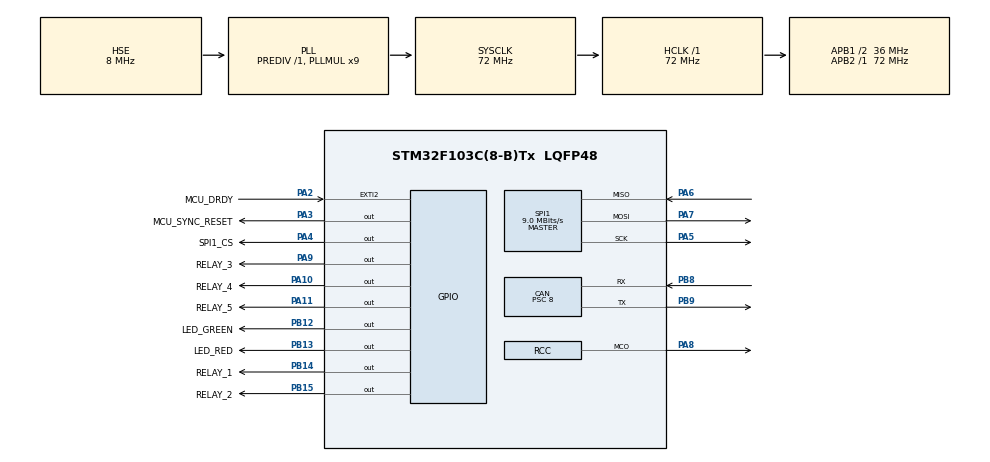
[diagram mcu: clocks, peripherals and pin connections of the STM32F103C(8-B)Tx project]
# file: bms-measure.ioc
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CAN.BS1=CAN_BS1_3TQ
CAN.BS2=CAN_BS2_5TQ
CAN.CalculateBaudRate=500000
CAN.CalculateTimeBit=2000
CAN.CalculateTimeQuantum=222.22222222222223
CAN.Prescaler=8
CAN.SJW=CAN_SJW_2TQ
Mcu.Family=STM32F1
Mcu.Name=STM32F103C(8-B)Tx
Mcu.Package=LQFP48
NVIC.CAN1_RX1_IRQn=true\:0\:0\:false\:false\:true\:true\:true\:true
NVIC.PriorityGroup=NVIC_PRIORITYGROUP_4
NVIC.SPI1_IRQn=true\:0\:0\:false\:false\:true\:true\:true\:true
NVIC.TIM4_IRQn=true\:0\:0\:false\:false\:true\:true\:true\:true
NVIC.USB_LP_CAN1_RX0_IRQn=true\:0\:0\:false\:false\:true\:true\:true\:true
PA10.GPIO_Label=RELAY_4
PA10.Signal=GPIO_Output
PA11.GPIO_Label=RELAY_5
PA11.Signal=GPIO_Output
PA13.Mode=Trace_Asynchronous_SW
PA13.Signal=SYS_JTMS-SWDIO
PA14.Mode=Trace_Asynchronous_SW
PA14.Signal=SYS_JTCK-SWCLK
PA2.GPIO_Label=MCU_DRDY
PA2.GPIO_ModeDefaultEXTI=GPIO_MODE_IT_FALLING
PA2.Signal=GPXTI2
PA3.GPIO_Label=MCU_SYNC_RESET
PA3.Signal=GPIO_Output
PA4.GPIO_Label=SPI1_CS
PA4.Signal=GPIO_Output
PA5.Mode=Full_Duplex_Master
PA5.Signal=SPI1_SCK
PA6.Mode=Full_Duplex_Master
PA6.Signal=SPI1_MISO
PA7.Mode=Full_Duplex_Master
PA7.Signal=SPI1_MOSI
PA8.Mode=Clock-out
PA8.Signal=RCC_MCO
PA9.GPIO_Label=RELAY_3
PA9.Signal=GPIO_Output
PB12.GPIO_Label=LED_GREEN
PB12.Signal=GPIO_Output
PB13.GPIO_Label=LED_RED
PB13.Signal=GPIO_Output
PB14.GPIO_Label=RELAY_1
PB14.Signal=GPIO_Output
PB15.GPIO_Label=RELAY_2
PB15.Signal=GPIO_Output
PB3.Mode=Trace_Asynchronous_SW
PB3.Signal=SYS_JTDO-TRACESWO
PB8.Mode=CAN_Activate
PB8.Signal=CAN_RX
PB9.Mode=CAN_Activate
PB9.Signal=CAN_TX
PC14-OSC32_IN.Mode=LSE-External-Oscillator
PC14-OSC32_IN.Signal=RCC_OSC32_IN
PC15-OSC32_OUT.Mode=LSE-External-Oscillator
PC15-OSC32_OUT.Signal=RCC_OSC32_OUT
PD0-OSC_IN.Mode=HSE-External-Oscillator
PD0-OSC_IN.Signal=RCC_OSC_IN
PD1-OSC_OUT.Mode=HSE-External-Oscillator
PD1-OSC_OUT.Signal=RCC_OSC_OUT
ProjectManager.HeapSize=0x200
ProjectManager.StackSize=0x400
ProjectManager.TargetToolchain=STM32CubeIDE
RCC.ADCPresc=RCC_ADCPCLK2_DIV6
RCC.AHBFreq_Value=72000000
RCC.APB1CLKDivider=RCC_HCLK_DIV2
RCC.APB1Freq_Value=36000000
RCC.APB1TimFreq_Value=72000000
RCC.APB2Freq_Value=72000000
RCC.APB2TimFreq_Value=72000000
RCC.HCLKFreq_Value=72000000
RCC.PLLMUL=RCC_PLL_MUL9
RCC.PLLSourceVirtual=RCC_PLLSOURCE_HSE
RCC.RCC_MCOSource=RCC_MCO1SOURCE_HSI
RCC.SYSCLKFreq_VALUE=72000000
RCC.SYSCLKSource=RCC_SYSCLKSOURCE_PLLCLK
RCC.USBFreq_Value=48000000
RCC.USBPrescaler=RCC_USBCLKSOURCE_PLL_DIV1_5
RTC.Date=5
RTC.Month=RTC_MONTH_DECEMBER
RTC.WeekDay=RTC_WEEKDAY_TUESDAY
RTC.Year=23
SPI1.BaudRatePrescaler=SPI_BAUDRATEPRESCALER_8
SPI1.CLKPhase=SPI_PHASE_2EDGE
SPI1.CLKPolarity=SPI_POLARITY_LOW
SPI1.CalculateBaudRate=9.0 MBits/s
SPI1.Direction=SPI_DIRECTION_2LINES
SPI1.FirstBit=SPI_FIRSTBIT_MSB
SPI1.Mode=SPI_MODE_MASTER
SPI1.VirtualType=VM_MASTER
TIM4.Period=10000-1
TIM4.Prescaler=72-1
VP_CRC_VS_CRC.Mode=CRC_Activate
VP_RTC_VS_RTC_Activate.Mode=RTC_Enabled
VP_RTC_VS_RTC_Calendar.Mode=RTC_Calendar
VP_TIM4_VS_ClockSourceINT.Mode=Internal
board=custom

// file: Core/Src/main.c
/* USER CODE BEGIN Header */
/**
  ******************************************************************************
  * @file           : main.c
  * @brief          : Main program body
  ******************************************************************************
  * @attention
  *
  * Copyright (c) 2023 STMicroelectronics.
  * All rights reserved.
  *
  * This software is licensed under terms that can be found in the LICENSE file
  * in the root directory of this software component.
  * If no LICENSE file comes with this software, it is provided AS-IS.
  *
  ******************************************************************************
  */
/* USER CODE END Header */
#include "main.h"
#include "can.h"
#include "crc.h"
#include "rtc.h"
#include "spi.h"
#include "tim.h"
#include "gpio.h"

/* USER CODE BEGIN Includes */
#include "ads131m0x.h"
#include <stdio.h>
#include <math.h>
#include <string.h>

#if __has_include("gitcommit.h")
	#include "gitcommit.h"
#else
	#define __GIT_SHORT_HASH__ 0x0000000
	#define __GIT_BRANCH__ "none"
	#define __GIT_DATE_STR__ "2024-11-25"
	#define __GIT_DATE_UT__ 1732571756
#endif

/* USER CODE END Includes */

/* USER CODE BEGIN PTD */
uint8_t process_10Ms_Timer(void);
void AlertHandler(void);
uint8_t check_Alert_and_Warn_Thresholds(void);
/* USER CODE END PTD */

/* USER CODE BEGIN PV */
//extern DMA_HandleTypeDef hdma_usart2_rx;
//extern DMA_HandleTypeDef hdma_spi1_rx;
uint8_t main_task_scheduler;
uint8_t adc_enable_mask;
uint8_t alive_timer;
uint16_t timer_10ms;

#ifdef __DEBUG__
__attribute__((__section__(".dev_config"))) const _DEV_CONFIG_REGS dev_config_regs = {
		__DEV_ID__,
		__BOARD_TYPE__,
		__BOARD_NAME__,
		__BOARD_VERSION__,
		__BOARD_MF_DATE__,
		DEAULT_BL_CAN_BITRATE,
		DEAULT_APP_CAN_BITRATE,
		DEAULT_TRIPP_CAN_ID,
		DEAULT_BROADCAST_CAN_ID,
};
#endif

__attribute__((__section__(".board_info"))) _BOARD_INFO_STRUCT board_name = {__BOARD_NAME__};

__attribute__((__section__(".sw_info"))) const _SW_INFO_REGS sw_info_regs = {
		__SW_NAME__,
	#ifdef __DEBUG__
		"Debug",
	#else
		"Release",
	#endif
		__SW_RELEASE__,
		__SW_RELEASE_DATE__,
		{	//git-info aus gitcommit.h
			__GIT_SHORT_HASH__,
			__GIT_DATE_UT__,
			__GIT_DATE_STR__,
			__GIT_BRANCH__,
		}
};

//alles was persistend (im Flash) gespeichert werden soll, z.b. Kalibration, ...
__attribute__((__section__(".app_config"))) const _BMS_MEASURE_CONFIG_REGS app_cfg_regs = {

	{//calibration
		{-139500, 0x800000},	//adc channel 01, current measurement, unused at the moment
#if (CHANNEL_COUNT > 1)
		{-132500, 0x800000},	//adc channel 02, current measurement
#endif
#if (CHANNEL_COUNT > 2)
		{-144600, 0x800000},		//adc channel 03, current measurement
#endif
#if (CHANNEL_COUNT > 3)
		{-83600, 0x800000},		//adc channel 04, current measurement
#endif
#if (CHANNEL_COUNT > 4)
		{-36950, 8600000},		//adc channel 05, voltage measurement
#endif
#if (CHANNEL_COUNT > 5)
		{-36950, 8600000},			//adc channel 06, unused at the moment, current measurement based on shunt resistor
#endif
	},
	{ //alert Thresholds
		{ 0.0, 30000.0, (ENABLE_MAX_THRESHOLD)},
#if (CHANNEL_COUNT > 1)
		{ 0.0, 30000.0, (ENABLE_MAX_THRESHOLD)},
#endif
#if (CHANNEL_COUNT > 2)
		{ 0.0, 30000.0, (ENABLE_MAX_THRESHOLD)},
#endif
#if (CHANNEL_COUNT > 3)
		{ 0.0, 50000.0, (ENABLE_MAX_THRESHOLD)},
#endif
#if (CHANNEL_COUNT > 4)
 #ifdef __DEBUG__
		{ 400.0, 555.0, (0)},//ENABLE_MIN_THRESHOLD|ENABLE_MAX_THRESHOLD
 #else
		{ 400.0, 555.0, (ENABLE_MIN_THRESHOLD|ENABLE_MAX_THRESHOLD)},
 #endif
#endif
#if (CHANNEL_COUNT > 5)
		{ 0.0, 0.0, 0x00}
#endif
	},
	{ //Warn Thresholds
		{ 0.0, 25000.0, (ENABLE_MAX_THRESHOLD)},
#if (CHANNEL_COUNT > 1)
		{ 0.0, 25000.0, (ENABLE_MAX_THRESHOLD)},
#endif
#if (CHANNEL_COUNT > 2)
		{ 0.0, 25000.0, (ENABLE_MAX_THRESHOLD)},
#endif
#if (CHANNEL_COUNT > 3)
		{ 0.0, 45000.0, (ENABLE_MAX_THRESHOLD)},
#endif
#if (CHANNEL_COUNT > 4)
#ifdef __DEBUG__
		{ 420000.0, 550000.0, (ENABLE_MAX_THRESHOLD)},//ENABLE_MIN_THRESHOLD|ENABLE_MAX_THRESHOLD
#else
		{ 420000.0, 550000.0, (ENABLE_MIN_THRESHOLD|ENABLE_MAX_THRESHOLD)},
#endif
#endif
#if (CHANNEL_COUNT > 5)
		{ 0.0, 0.0, 0x00}
#endif
	},
	{ //Current Fast Trip Threshold
		{ (DEFAULT_CFT_CURRENT*UINT_FS_CURRENT_A), (ENABLE_MAX_THRESHOLD), (CFT_RELAY1)},
#if (CHANNEL_COUNT > 1)
		{ (DEFAULT_CFT_CURRENT*UINT_FS_CURRENT_A), (ENABLE_MAX_THRESHOLD), (CFT_RELAY2)},
#endif
#if (CHANNEL_COUNT > 2)
		{ (DEFAULT_CFT_CURRENT*UINT_FS_CURRENT_A), (ENABLE_MAX_THRESHOLD), (CFT_RELAY3)},
#endif
#if (CHANNEL_COUNT > 3)
		{ (50*UINT_FS_CURRENT_A), (ENABLE_MAX_THRESHOLD), (CFT_RELAY4)},
#endif
#if (CHANNEL_COUNT > 4)
		{ 0, 0x00},
#endif
#if (CHANNEL_COUNT > 5)
		{ 0, 0x00}
#endif
	},
	//allert_mask mask
	((0x01<<ADC_CH1) | (0x01<<ADC_CH2) | (0x01<<ADC_CH3) | (0x01<<ADC_CH4) | (0x00<<ADC_CH5) | (0x00<<ADC_CH6)),

	//warn_mask mask
	((0x01<<ADC_CH1) | (0x01<<ADC_CH2) | (0x01<<ADC_CH3) | (0x01<<ADC_CH4) | (0x00<<ADC_CH5) | (0x00<<ADC_CH6)),

	//current_fast_trip_mask mask
	((0x01<<ADC_CH1) | (0x01<<ADC_CH2) | (0x01<<ADC_CH3) | (0x00<<ADC_CH4) | (0x00<<ADC_CH5) | (0x00<<ADC_CH6)),

	//crit_allert_mask mask
	((0x01<<ADC_CH1) | (0x01<<ADC_CH2) | (0x01<<ADC_CH3) | (0x01<<ADC_CH4) | (0x00<<ADC_CH5) | (0x00<<ADC_CH6)),

	//enable mask
	((0x01<<ADC_CH1) | (0x01<<ADC_CH2) | (0x01<<ADC_CH3) | (0x01<<ADC_CH4) | (0x01<<ADC_CH5) | (0x00<<ADC_CH6))
};

const _DEV_CONFIG_REGS* pDevConfig = (const _DEV_CONFIG_REGS*)DEV_CONFIG_FL_ADDRESS;

/**
 * @var		main_regs
 * @brief	Registersatz im Ram (Arbeitsregister)
 * @see		MAIN_REGS
 * @see		main_ee_regs
 *
 */
_MAIN_REGS main_regs = {
	//!<RW CTRL Ein-/Ausschalten usw.  (1 BYTE )
	((1<<REG_CTRL_ACTIVATE) | (1<<REG_CTRL_CRIT_ALERT) | (1<<REG_CTRL_ENABLE_TRIP) |
	(0<<REG_CTRL_ENABLE_ADC_AUTO_SEND) | (0<<REG_CTRL_ENABLE_CF_TRIP) | (1<<REG_CTRL_WARN_ENABLE)),

	SYS_OK,
	ERR_NONE,
	STATE_OFF,

	ALIVE_TIMEOUT_10MS,

	0,
	0,
	0,
	0,
	0,
	0,

	{}
};

/* USER CODE END PV */

void SystemClock_Config(void);

/* USER CODE BEGIN 0 */
int _write(int file, char *ptr, int len)
 {
	 int DataIdx;
	 for (DataIdx = 0; DataIdx < len; DataIdx++)
	 {
		 ITM_SendChar(*ptr++);
	 }
	 return len;
 }

/****************************************************************************
  * @brief  trip one or more high current relays in case of overcurrent
  * @retval nore
  * @fn TripCFTRelay
  */
void TripCFTRelay (uint8_t cft_relay_mask)
{
	//CFT_RELAY1
	if (cft_relay_mask & CFT_RELAY1)	{
		HAL_GPIO_WritePin(RELAY_2_GPIO_Port, RELAY_2_Pin, GPIO_PIN_RESET);
	}

	//CFT_RELAY2
	if (cft_relay_mask & CFT_RELAY2)	{
		HAL_GPIO_WritePin(RELAY_3_GPIO_Port, RELAY_3_Pin, GPIO_PIN_RESET);
	}

#if __BOARD_VERSION__ >= 0x0200
	//CFT_RELAY3
	if (cft_relay_mask & CFT_RELAY3)	{
		HAL_GPIO_WritePin(RELAY_4_GPIO_Port, RELAY_4_Pin, GPIO_PIN_RESET);
	}

	//CFT_RELAY4
	if (cft_relay_mask & CFT_RELAY4)	{
		HAL_GPIO_WritePin(RELAY_5_GPIO_Port, RELAY_5_Pin, GPIO_PIN_RESET);
	}
#endif

}

_LED_SIGNAL_STATE	led_state={1,SLOW_FLASH,OFF};

/****************************************************************************
  * @brief  The application entry point.
  * @retval int
  */
void set_signal_led(uint8_t led, _LED_SIGNAL_MASK mask)
{
	if(led & GREEN_LED)
		led_state.green_led_mask=mask;

	if(led & CAN_LED) {
		led_state.can_led_mask=mask;
		led_state.mask=1;
	}

	return;
}

/****************************************************************************
  * @brief  The application entry point.
  * @retval int
  */
void signal_led_task(void)
{

	if(led_state.green_led_mask & led_state.mask) {
		HAL_GPIO_WritePin(LED_GREEN_GPIO_Port, LED_GREEN_Pin, GPIO_PIN_SET);
	}else {
		HAL_GPIO_WritePin(LED_GREEN_GPIO_Port, LED_GREEN_Pin, GPIO_PIN_RESET);
	}

	if(led_state.can_led_mask & led_state.mask) {
		HAL_GPIO_TogglePin(LED_GREEN_GPIO_Port, LED_GREEN_Pin);
		led_state.can_led_mask &= + ~led_state.mask;
	}

	led_state.mask<<=1;
	if (!led_state.mask) {
		led_state.mask=1;
	}
}

/* USER CODE END 0 */

int main(void)
{
/* USER CODE BEGIN 1 */

	main_task_scheduler = 0;
	alive_timer = 0;
	timer_10ms = 0;

	//copy app-config from flash to ram (we will use it from ram)
	memcpy(&main_regs.cfg_regs, &app_cfg_regs, sizeof(_BMS_MEASURE_CONFIG_REGS));

	//copy dev-config from flash to ram (we will use it from ram)
	memcpy(&main_regs.dev_config, pDevConfig, sizeof(_DEV_CONFIG_REGS));

	//copy sofware-info from flash to ram (we will use it from ram)
	memcpy(&main_regs.sw_info, &sw_info_regs, sizeof(_SW_INFO_REGS));

	//copy board-name from flash to ram (we will use it from ram)
	memcpy(&main_regs.board_info, &board_name, sizeof(_BOARD_INFO_STRUCT));

/* USER CODE END 1 */

  /* MCU Configuration--------------------------------------------------------*/

  /* Reset of all peripherals, Initializes the Flash interface and the Systick. */
  HAL_Init();

  /* Configure the system clock */
  SystemClock_Config();

  /* Initialize all configured peripherals */
  MX_GPIO_Init();
  MX_CAN_Init();
  MX_RTC_Init();
  MX_SPI1_Init();
  MX_CRC_Init();
  MX_TIM4_Init();

/* USER CODE BEGIN 2 */

  // Start CAN
  HAL_CAN_Start(&hcan);

  //Init and Start ADC
  ADS131M08_init(&hspi1);

  // Start timer
  HAL_TIM_Base_Start_IT(&htim4);

  //activate incomming notifications on CAN-Bus
  if (HAL_CAN_ActivateNotification(&hcan, CAN_IT_RX_FIFO0_MSG_PENDING) != HAL_OK)
  {
	  Error_Handler();
  }

/* USER CODE END 2 */

  /* Infinite loop */
  while (1)
  {

/* USER CODE BEGIN 3 */

	  if (main_task_scheduler & PROCESS_ADS131M08)
	  {
		  if (!process_ADS131M08())
		  {
			  check_Alert_and_Warn_Thresholds();
			  main_task_scheduler &= ~PROCESS_ADS131M08;
		  }
	  }

	  if (main_task_scheduler & PROCESS_CAN)
	  {
		  if (!process_CAN())
			  main_task_scheduler &= ~PROCESS_CAN;
	  }

	  if (main_task_scheduler & PROCESS_10_MS_TASK)
	  {
		  if (!process_10Ms_Timer())
			  main_task_scheduler &= ~PROCESS_10_MS_TASK;
	  }

	  if (main_task_scheduler & PROCESS_100_MS_TASK)
	  {
		  main_task_scheduler &= ~PROCESS_100_MS_TASK;

		  signal_led_task();

		  //main_task_scheduler |= PROCESS_CAN;
		  //can_task_scheduler |= PROCESS_CAN_SEND_NEW_ALIVE_DATA;
	  }
  }
/* USER CODE END 3 */
}

void SystemClock_Config(void)
{
  RCC_OscInitTypeDef RCC_OscInitStruct = {0};
  RCC_ClkInitTypeDef RCC_ClkInitStruct = {0};
  RCC_PeriphCLKInitTypeDef PeriphClkInit = {0};

  /** Initializes the RCC Oscillators according to the specified parameters
  * in the RCC_OscInitTypeDef structure.
  */
  RCC_OscInitStruct.OscillatorType = RCC_OSCILLATORTYPE_LSI|RCC_OSCILLATORTYPE_HSE;
  RCC_OscInitStruct.HSEState = RCC_HSE_ON;
  RCC_OscInitStruct.HSEPredivValue = RCC_HSE_PREDIV_DIV1;
  RCC_OscInitStruct.HSIState = RCC_HSI_ON;
  RCC_OscInitStruct.LSIState = RCC_LSI_ON;
  RCC_OscInitStruct.PLL.PLLState = RCC_PLL_ON;
  RCC_OscInitStruct.PLL.PLLSource = RCC_PLLSOURCE_HSE;
  RCC_OscInitStruct.PLL.PLLMUL = RCC_PLL_MUL9;
  if (HAL_RCC_OscConfig(&RCC_OscInitStruct) != HAL_OK)
  {
    Error_Handler();
  }

  /** Initializes the CPU, AHB and APB buses clocks
  */
  RCC_ClkInitStruct.ClockType = RCC_CLOCKTYPE_HCLK|RCC_CLOCKTYPE_SYSCLK
                              |RCC_CLOCKTYPE_PCLK1|RCC_CLOCKTYPE_PCLK2;
  RCC_ClkInitStruct.SYSCLKSource = RCC_SYSCLKSOURCE_PLLCLK;
  RCC_ClkInitStruct.AHBCLKDivider = RCC_SYSCLK_DIV1;
  RCC_ClkInitStruct.APB1CLKDivider = RCC_HCLK_DIV2;
  RCC_ClkInitStruct.APB2CLKDivider = RCC_HCLK_DIV1;

  if (HAL_RCC_ClockConfig(&RCC_ClkInitStruct, FLASH_LATENCY_2) != HAL_OK)
  {
    Error_Handler();
  }
  PeriphClkInit.PeriphClockSelection = RCC_PERIPHCLK_RTC;
  PeriphClkInit.RTCClockSelection = RCC_RTCCLKSOURCE_LSI;
  if (HAL_RCCEx_PeriphCLKConfig(&PeriphClkInit) != HAL_OK)
  {
    Error_Handler();
  }
  HAL_RCC_MCOConfig(RCC_MCO, RCC_MCO1SOURCE_HSE, RCC_MCODIV_1);
}

/* USER CODE BEGIN 4 */

//*****************************************************************************
//
//! wird alle 10ms aufgerufen, getriggert durch den Timer4-overrun
//!
//! \fn uint8_t check_Alert_and_Warn_Thresholds(void)
//!
//!
//! \return None.
//
//*****************************************************************************
uint8_t check_Alert_and_Warn_Thresholds(void)
{
	uint8_t ch;
	float abs_value;
	uint8_t alert_msg[7];
	uint8_t ch_type;
	uint8_t led_mask;

	for (ch=0; ch<NUMB_ADC_CH; ch++)
	{
		if (main_regs.cfg_regs.adc_enable_mask & (1<<ch) )
		{
			//abs_value = abs();
			abs_value = adcConfM->chData[ch].v;

			//upper alert threschold?
			if (main_regs.cfg_regs.alert_thresholds[ch].enable_mask & ENABLE_MAX_THRESHOLD)
			{
				if (abs_value >= main_regs.cfg_regs.alert_thresholds[ch].max )
				{
					//AllertHandler();
					alert_msg[1]=ENABLE_MAX_THRESHOLD;
					goto crit_err_mark;
				}
			}

			//upper warn threschold?
			if (main_regs.cfg_regs.warn_thresholds[ch].enable_mask & ENABLE_MAX_THRESHOLD)
			{
				if (abs_value >= main_regs.cfg_regs.warn_thresholds[ch].max )
				{
					//AllertHandler();
					alert_msg[1]=ENABLE_MAX_THRESHOLD;
					goto warn_mark;
				}
			}

			//lower alert threschold?
			if (main_regs.cfg_regs.alert_thresholds[ch].enable_mask & ENABLE_MIN_THRESHOLD)
			{
				if (abs_value <= main_regs.cfg_regs.alert_thresholds[ch].min )
				{
					//AllertHandler();
					alert_msg[1]=ENABLE_MIN_THRESHOLD;
					goto crit_err_mark;
				}
			}

			//lower warn threschold?
			if (main_regs.cfg_regs.warn_thresholds[ch].enable_mask & ENABLE_MIN_THRESHOLD)
			{
				if (abs_value <= main_regs.cfg_regs.warn_thresholds[ch].min )
				{
					//AllertHandler();
					alert_msg[1]=ENABLE_MIN_THRESHOLD;
					goto warn_mark;
				}
			}
		}
	}

	main_regs.sys_state=STATE_OK;
	return 0;

crit_err_mark:
	ch_type = adcConfM->chData[ch].measure_type;

	if (ch_type & 0x02) { //Current
		alert_msg[0]=ERR_CURRENT;
		led_mask=LED_3_FLASH;
	}else if (ch_type & 0x04){ //Voltage
		alert_msg[0]=ERR_VOLTAGE;
		led_mask=LED_2_FLASH;
	}else {
		alert_msg[0]=ERR_UNKNOWN;
		led_mask=LED_4_FLASH;
	}

	set_signal_led(GREEN_LED, led_mask);

	*((float*)(alert_msg+2)) = adcConfM->chData[adcConfM->ch].v;

	DoAlert(alert_msg, 7);

	return 1; //we will not reach this (but just to be sure)

warn_mark:
	ch_type = adcConfM->chData[ch].measure_type;

	if (ch_type & 0x02) { //Current
		alert_msg[0]=ERR_CURRENT;
		led_mask=LED_3_FLASH;
	}else if (ch_type & 0x04){ //Voltage
		alert_msg[0]=ERR_VOLTAGE;
		led_mask=LED_2_FLASH;
	}else {
		alert_msg[0]=ERR_UNKNOWN;
		led_mask=LED_4_FLASH;
	}

	set_signal_led(GREEN_LED, led_mask);

	*((float*)(alert_msg+2)) = adcConfM->chData[adcConfM->ch].v;

	if (main_regs.ctrl & (1<<REG_CTRL_WARN_ENABLE))
		can_send_warn_msg(alert_msg, 6);

	main_regs.sys_state=STATE_WARN;
	return 1;
}

//*****************************************************************************
//
//! wird alle 10ms aufgerufen, getriggert durch den Timer4-overrun
//!
//! \fn uint8_t process_10Ms_Timer(void)
//!
//!
//! \return None.
//
//*****************************************************************************
uint8_t process_10Ms_Timer(void)
{
	uint8_t alert_msg;

	if (alive_timer)
	{
		if (--alive_timer == 0)
		{
			//kritisch
			alive_timer = main_regs.alive_timeout;

			alert_msg = ERR_ALIVE;
			DoAlert(&alert_msg, 1);
		}
	}

	if (!(++timer_10ms % 10))
	{
		main_task_scheduler |= PROCESS_100_MS_TASK;
	}

	return 0;
}

//*****************************************************************************
//
//! wird im Fehlerfall aufgerufen und aktivert die vollständige Abschaltung
//!
//! \fn void AlertHandler(void)
//!
//!
//! \return None.
//
//*****************************************************************************
void AlertHandler(void)
{
	//send Something?

	if (main_regs.ctrl & (1<<REG_CTRL_ACTIVATE))
	{
		HAL_GPIO_WritePin(RELAY_1_GPIO_Port, RELAY_1_Pin, GPIO_PIN_SET);

		Error_Handler();
	}
}

//*****************************************************************************
//
//! wird im Fehlerfall aufgerufen und aktivert die vollständige Abschaltung
//!
//! \fn void AllertHandler(void)
//!
//!
//! \return None.
//
//*****************************************************************************
void DoAlert(uint8_t* p_msg, uint8_t len)
{

	if (main_regs.ctrl & (1<<REG_CTRL_CRIT_ALERT))
	{
		//Time to say goodbye, trip SYSTEM_TRIP_RELAY2
		HAL_GPIO_WritePin(RELAY_1_GPIO_Port, RELAY_1_Pin, GPIO_PIN_SET);

		AlertHandler();
	}

	//send Something?
	can_send_alert_msg(p_msg, len);

	main_regs.sys_err=(_SYS_ERR_CODES)p_msg[0];
	main_regs.sys_state=SYS_ERROR;

}

//*****************************************************************************
//
//! Callback: timer has rolled over
//!
//! \fn void HAL_TIM_PeriodElapsedCallback(TIM_HandleTypeDef *htim)
//!
//!
//! \return None.
//
//*****************************************************************************
void HAL_TIM_PeriodElapsedCallback(TIM_HandleTypeDef *htim)
{
	// Check which version of the timer triggered this callback and toggle LED
	if (htim == &htim4 )
	{
		main_task_scheduler |= PROCESS_10_MS_TASK;
	}
}

/* Jump to Bootoader -------------------------------------------------------------*/
void JumpToBtld(void){
    uint32_t  JumpAddress = *(__IO uint32_t*)(DEV_BL_ADDRESS + 4);
    pFunction Jump = (pFunction)JumpAddress;

    HAL_RCC_DeInit();
    HAL_DeInit();

    //HAL_NVIC_DisableIRQ();

    SysTick->CTRL = 0;
    SysTick->LOAD = 0;
    SysTick->VAL  = 0;

#if (SET_VECTOR_TABLE)
    SCB->VTOR = DEV_BL_ADDRESS;
#endif

    __set_MSP(*(__IO uint32_t*)DEV_BL_ADDRESS);
    Jump();
}

/* Jump to application -------------------------------------------------------------*/
void JumpToApp(void){
    uint32_t  JumpAddress = *(__IO uint32_t*)(DEV_APP_ADDRESS + 4);
    pFunction Jump = (pFunction)JumpAddress;

    HAL_RCC_DeInit();
    HAL_DeInit();

    //HAL_NVIC_DisableIRQ();

    SysTick->CTRL = 0;
    SysTick->LOAD = 0;
    SysTick->VAL  = 0;

#if (SET_VECTOR_TABLE)
    SCB->VTOR = DEV_APP_ADDRESS;
#endif

    __set_MSP(*(__IO uint32_t*)DEV_APP_ADDRESS);
    Jump();
}

/* USER CODE END 4 */

void Error_Handler(void)
{
  /* USER CODE BEGIN Error_Handler_Debug */
  /* User can add his own implementation to report the HAL error return state */
  __disable_irq();
	HAL_GPIO_WritePin(LED_GREEN_GPIO_Port, LED_GREEN_Pin, GPIO_PIN_SET);
  while (1)
  {
  }
  /* USER CODE END Error_Handler_Debug */
}
